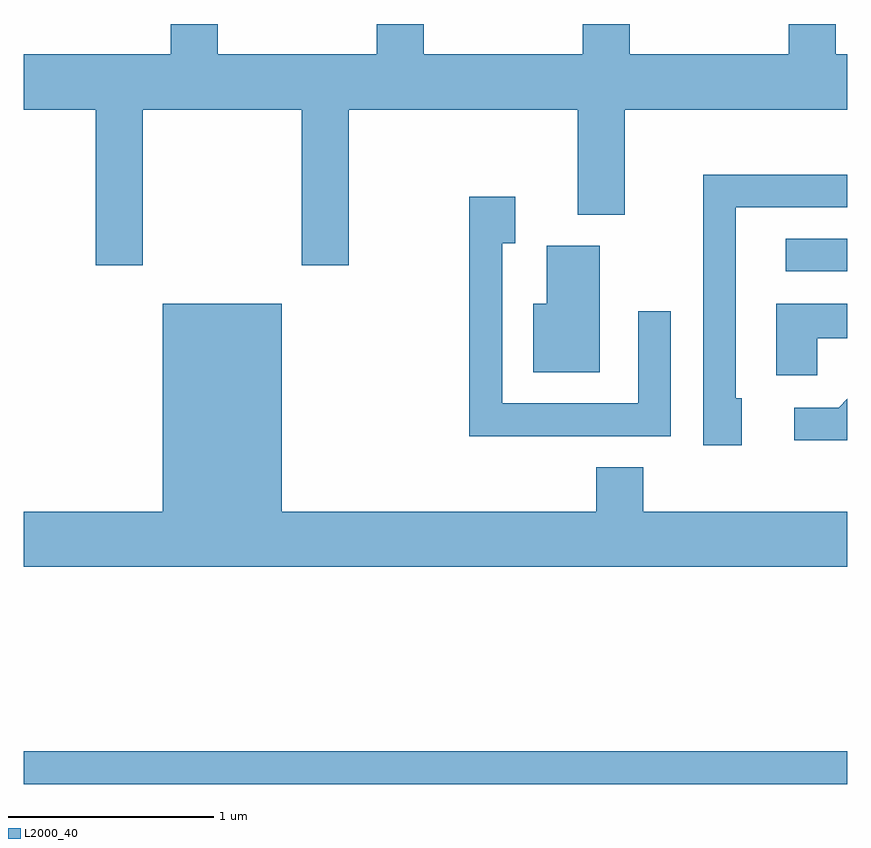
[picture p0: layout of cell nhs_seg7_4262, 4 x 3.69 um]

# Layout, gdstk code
import gdstk
lib = gdstk.Library(unit=1e-6, precision=1e-09)
def R(c, l, rs):  # rectangles x0, y0, x1, y1
    for r in rs: c.add(gdstk.rectangle(r[:2], r[2:], *l))
def P(c, l, *ps):  # polygons
    for p in ps: c.add(gdstk.Polygon(p, *l))
L2000_40 = (2000, 40)

nhs_seg7_4262 = lib.new_cell('nhs_seg7_4262')
R(nhs_seg7_4262, L2000_40, [(315.611,1746.561,319.611,1746.719), (319.313,1749.051,319.611,1749.209)])
P(nhs_seg7_4262, L2000_40, [(316.189,1749.836),(316.961,1749.836),(316.961,1749.081),(317.189,1749.081),(317.189,1749.836),(318.301,1749.836),(318.301,1749.326),(318.529,1749.326),(318.529,1749.836),(319.611,1749.836),(319.611,1750.104),(319.554,1750.104),(319.554,1750.252),(319.326,1750.252),(319.326,1750.104),(318.554,1750.104),(318.554,1750.252),(318.326,1750.252),(318.326,1750.104),(317.554,1750.104),(317.554,1750.252),(317.326,1750.252),(317.326,1750.104),(316.554,1750.104),(316.554,1750.252),(316.326,1750.252),(316.326,1750.104),(315.611,1750.104),(315.611,1749.836),(315.961,1749.836),(315.961,1749.081),(316.189,1749.081)],
  [(319.099,1748.434),(319.069,1748.434),(319.069,1749.361),(319.611,1749.361),(319.611,1749.519),(318.911,1749.519),(318.911,1748.206),(319.099,1748.206)],
  [(318.754,1748.858),(318.596,1748.858),(318.596,1748.409),(317.934,1748.409),(317.934,1749.186),(317.999,1749.186),(317.999,1749.414),(317.776,1749.414),(317.776,1748.251),(318.754,1748.251)],
  [(318.409,1749.174),(318.151,1749.174),(318.151,1748.894),(318.086,1748.894),(318.086,1748.561),(318.409,1748.561)],
  [(319.611,1747.884),(318.619,1747.884),(318.619,1748.099),(318.391,1748.099),(318.391,1747.884),(316.864,1747.884),(316.864,1748.894),(316.286,1748.894),(316.286,1747.884),(315.611,1747.884),(315.611,1747.616),(319.611,1747.616)],
  [(319.464,1748.726),(319.611,1748.726),(319.611,1748.894),(319.266,1748.894),(319.266,1748.546),(319.464,1748.546)],
  [(319.611,1748.431),(319.569,1748.389),(319.353,1748.389),(319.353,1748.231),(319.611,1748.231)])

lib.write_gds('nhs_seg7_4262.gds')
